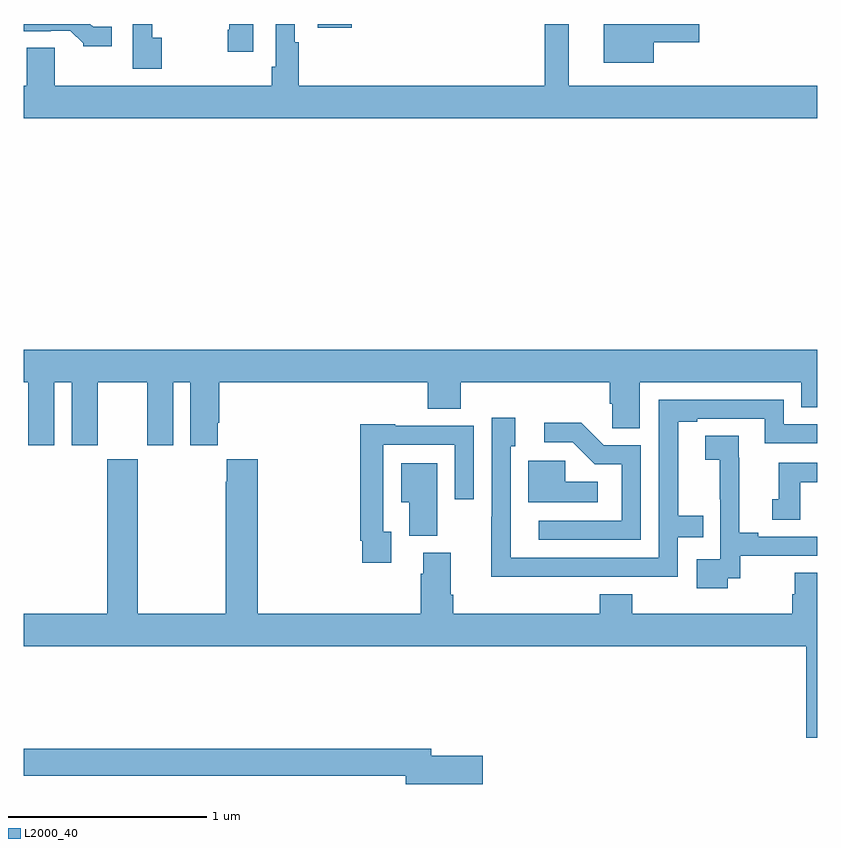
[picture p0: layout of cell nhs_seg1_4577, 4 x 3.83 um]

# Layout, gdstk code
import gdstk
lib = gdstk.Library(unit=1e-6, precision=1e-09)
def R(c, l, rs):  # rectangles x0, y0, x1, y1
    for r in rs: c.add(gdstk.rectangle(r[:2], r[2:], *l))
def P(c, l, *ps):  # polygons
    for p in ps: c.add(gdstk.Polygon(p, *l))
L2000_40 = (2000, 40)

nhs_seg1_4577 = lib.new_cell('nhs_seg1_4577')
R(nhs_seg1_4577, L2000_40, [(360.482,560.181,360.653,560.199)])
P(nhs_seg1_4577, L2000_40, [(363,559.888),(361.747,559.888),(361.747,560.199),(361.626,560.199),(361.626,559.888),(360.386,559.888),(360.386,560.108),(360.366,560.108),(360.366,560.199),(360.27,560.199),(360.27,559.984),(360.25,559.984),(360.25,559.888),(359.155,559.888),(359.155,560.078),(359.015,560.078),(359.015,559.888),(359,559.888),(359,559.724),(363,559.724)],
  [(359.694,560.13),(359.646,560.13),(359.646,560.199),(359.55,560.199),(359.55,559.974),(359.694,559.974)],
  [(362.176,560.108),(362.407,560.108),(362.407,560.199),(361.925,560.199),(361.925,560.003),(362.176,560.003)],
  [(360.157,560.199),(360.035,560.199),(360.035,560.17),(360.028,560.17),(360.028,560.058),(360.157,560.058)],
  [(359.443,560.184),(359.349,560.184),(359.334,560.199),(359,560.199),(359,560.163),(359.135,560.163),(359.135,560.166),(359.234,560.166),(359.298,560.102),(359.298,560.087),(359.443,560.087)],
  [(359.152,558.392),(359.24,558.392),(359.24,558.075),(359.371,558.075),(359.371,558.392),(359.621,558.392),(359.621,558.075),(359.752,558.075),(359.752,558.392),(359.84,558.392),(359.84,558.075),(359.977,558.075),(359.977,558.187),(359.984,558.187),(359.984,558.392),(361.037,558.392),(361.037,558.259),(361.202,558.259),(361.202,558.392),(361.955,558.392),(361.955,558.283),(361.968,558.283),(361.968,558.16),(362.107,558.16),(362.107,558.392),(362.921,558.392),(362.921,558.265),(363,558.265),(363,558.556),(359,558.556),(359,558.392),(359.021,558.392),(359.021,558.075),(359.152,558.075)],
  [(361.82,557.412),(362.298,557.412),(362.298,557.61),(362.426,557.61),(362.426,557.719),(362.299,557.719),(362.299,558.192),(362.395,558.192),(362.395,558.207),(362.736,558.207),(362.736,558.084),(363,558.084),(363,558.18),(362.832,558.18),(362.832,558.303),(362.202,558.303),(362.202,557.508),(361.455,557.508),(361.455,558.069),(361.477,558.069),(361.477,558.214),(361.359,558.214),(361.359,557.714),(361.358,557.714),(361.358,557.411),(361.82,557.411)],
  [(362.112,558.075),(361.923,558.075),(361.81,558.188),(361.623,558.188),(361.623,558.09),(361.767,558.09),(361.878,557.979),(362.016,557.979),(362.016,557.694),(361.596,557.694),(361.596,557.598),(362.112,557.598)],
  [(360.853,557.637),(360.813,557.637),(360.813,558.078),(361.173,558.078),(361.173,557.802),(361.269,557.802),(361.269,558.174),(360.873,558.174),(360.873,558.181),(360.697,558.181),(360.697,557.593),(360.705,557.593),(360.705,557.481),(360.853,557.481)],
  [(362.55,557.403),(362.612,557.403),(362.612,557.517),(363,557.517),(363,557.613),(362.704,557.613),(362.704,557.633),(362.608,557.633),(362.608,558.011),(362.606,558.011),(362.606,558.122),(362.436,558.122),(362.436,558.001),(362.51,558.001),(362.51,557.803),(362.511,557.803),(362.511,557.499),(362.394,557.499),(362.394,557.352),(362.55,557.352)],
  [(363,557.432),(362.888,557.432),(362.888,557.322),(362.876,557.322),(362.876,557.224),(362.069,557.224),(362.069,557.323),(361.904,557.323),(361.904,557.224),(361.166,557.224),(361.166,557.32),(361.153,557.32),(361.153,557.532),(361.013,557.532),(361.013,557.426),(361.001,557.426),(361.001,557.224),(360.179,557.224),(360.179,558.004),(360.023,558.004),(360.023,557.891),(360.019,557.891),(360.019,557.224),(359.574,557.224),(359.574,558.004),(359.419,558.004),(359.419,557.224),(359,557.224),(359,557.06),(362.945,557.06),(362.945,556.599),(363,556.599)],
  [(361.894,557.89),(361.731,557.89),(361.731,557.997),(361.544,557.997),(361.544,557.786),(361.894,557.786)],
  [(362.914,557.889),(363,557.889),(363,557.985),(362.807,557.985),(362.807,557.802),(362.774,557.802),(362.774,557.698),(362.914,557.698)],
  [(361.084,557.983),(360.902,557.983),(360.902,557.786),(360.944,557.786),(360.944,557.617),(361.084,557.617)],
  [(361.315,556.508),(361.054,556.508),(361.054,556.544),(359,556.544),(359,556.408),(360.926,556.408),(360.926,556.366),(361.315,556.366)])

lib.write_gds('nhs_seg1_4577.gds')
